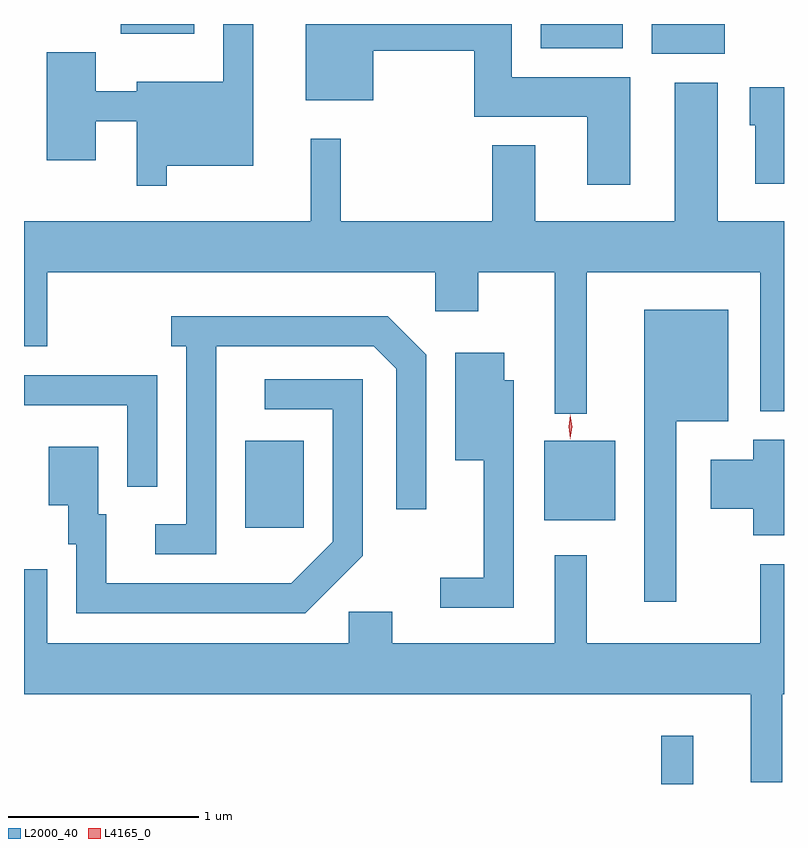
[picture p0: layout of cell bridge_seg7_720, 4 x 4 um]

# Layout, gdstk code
import gdstk
lib = gdstk.Library(unit=1e-6, precision=1e-09)
def R(c, l, rs):  # rectangles x0, y0, x1, y1
    for r in rs: c.add(gdstk.rectangle(r[:2], r[2:], *l))
def P(c, l, *ps):  # polygons
    for p in ps: c.add(gdstk.Polygon(p, *l))
L2000_40 = (2000, 40)
L4165_0 = (4165, 0)

bridge_seg7_720 = lib.new_cell('bridge_seg7_720')
R(bridge_seg7_720, L2000_40, [(598.491,1742.703,598.659,1742.958), (596.301,1744.051,596.609,1744.509), (597.876,1744.091,598.249,1744.509), (598.441,1746.546,598.824,1746.703), (597.856,1746.576,598.289,1746.703), (595.646,1746.651,596.034,1746.703)])
P(bridge_seg7_720, L2000_40, [(595.889,1745.956),(596.344,1745.956),(596.344,1746.703),(596.186,1746.703),(596.186,1746.399),(595.731,1746.399),(595.731,1746.349),(595.514,1746.349),(595.514,1746.554),(595.256,1746.554),(595.256,1745.986),(595.514,1745.986),(595.514,1746.191),(595.731,1746.191),(595.731,1745.853),(595.889,1745.853)],
  [(598.329,1746.424),(597.704,1746.424),(597.704,1746.703),(596.621,1746.703),(596.621,1746.301),(596.974,1746.301),(596.974,1746.561),(597.506,1746.561),(597.506,1746.216),(598.101,1746.216),(598.101,1745.856),(598.329,1745.856)],
  [(598.099,1745.396),(599.011,1745.396),(599.011,1744.666),(599.137,1744.666),(599.137,1745.664),(598.789,1745.664),(598.789,1746.394),(598.561,1746.394),(598.561,1745.664),(597.829,1745.664),(597.829,1746.064),(597.601,1746.064),(597.601,1745.664),(596.804,1745.664),(596.804,1746.098),(596.646,1746.098),(596.646,1745.664),(595.137,1745.664),(595.137,1745.006),(595.259,1745.006),(595.259,1745.396),(597.301,1745.396),(597.301,1745.191),(597.529,1745.191),(597.529,1745.396),(597.931,1745.396),(597.931,1744.653),(598.099,1744.653)],
  [(599.137,1746.369),(598.956,1746.369),(598.956,1746.171),(598.986,1746.171),(598.986,1745.861),(599.137,1745.861)],
  [(598.569,1744.611),(598.844,1744.611),(598.844,1745.199),(598.401,1745.199),(598.401,1743.663),(598.569,1743.663)],
  [(596.149,1745.006),(596.979,1745.006),(597.096,1744.889),(597.096,1744.148),(597.254,1744.148),(597.254,1744.962),(597.052,1745.164),(595.913,1745.164),(595.913,1745.006),(595.991,1745.006),(595.991,1744.069),(595.828,1744.069),(595.828,1743.911),(596.149,1743.911)],
  [(597.714,1744.829),(597.664,1744.829),(597.664,1744.974),(597.406,1744.974),(597.406,1744.406),(597.556,1744.406),(597.556,1743.789),(597.328,1743.789),(597.328,1743.631),(597.714,1743.631)],
  [(595.839,1744.854),(595.137,1744.854),(595.137,1744.696),(595.681,1744.696),(595.681,1744.268),(595.839,1744.268)],
  [(596.919,1743.904),(596.919,1744.834),(596.403,1744.834),(596.403,1744.676),(596.761,1744.676),(596.761,1743.977),(596.544,1743.759),(595.569,1743.759),(595.569,1744.124),(595.529,1744.124),(595.529,1744.479),(595.266,1744.479),(595.266,1744.171),(595.371,1744.171),(595.371,1743.966),(595.411,1743.966),(595.411,1743.601),(596.617,1743.601)],
  [(599.137,1744.514),(598.976,1744.514),(598.976,1744.409),(598.751,1744.409),(598.751,1744.151),(598.976,1744.151),(598.976,1744.011),(599.137,1744.011)],
  [(599.129,1743.176),(599.137,1743.176),(599.137,1743.859),(599.011,1743.859),(599.011,1743.444),(598.099,1743.444),(598.099,1743.908),(597.931,1743.908),(597.931,1743.444),(597.074,1743.444),(597.074,1743.609),(596.846,1743.609),(596.846,1743.444),(595.259,1743.444),(595.259,1743.834),(595.137,1743.834),(595.137,1743.176),(598.961,1743.176),(598.961,1742.713),(599.129,1742.713)])
P(bridge_seg7_720, L4165_0, [(598.013,1744.518),(598.012,1744.519),(598.003,1744.583),(598.012,1744.647),(598.013,1744.647),(598.013,1744.647),(598.023,1744.583),(598.013,1744.519)])

lib.write_gds('bridge_seg7_720.gds')
